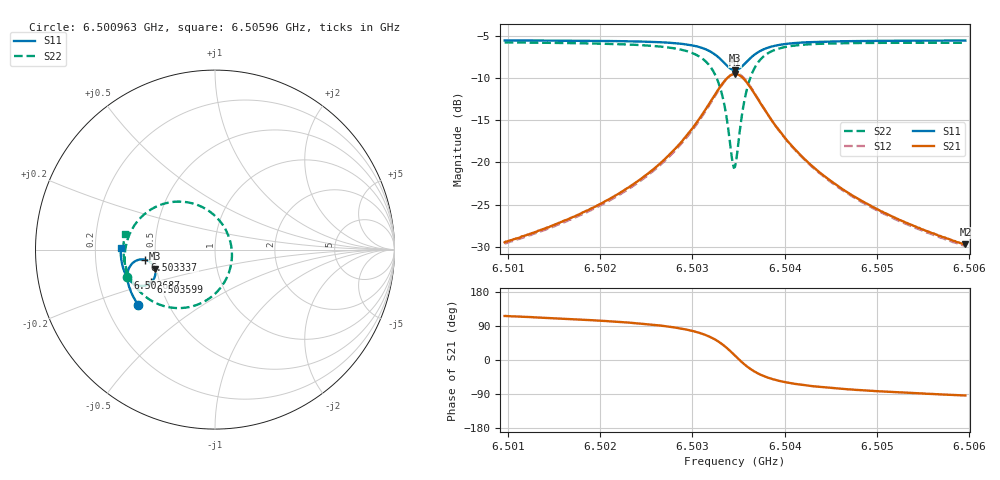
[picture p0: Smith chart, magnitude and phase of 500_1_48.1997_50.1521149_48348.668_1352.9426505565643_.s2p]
#  HZ  S  RI  R  50.00
! Rohde & Schwarz Vector Network Analyzer
! Rohde-Schwarz,ZNB20-2Port,1311601062101988,3.16
! Created: UTC 3/20/2024, 11:58:31 AM
! freq[Hz]  re:S11  im:S11  re:S21  im:S21  re:S12  im:S12  re:S22  im:S22
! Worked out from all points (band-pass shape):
!   401 points, 6.500963 GHz to 6.50596 GHz, reference 50 ohm
!   highest |S21| = -9.53 dB at 6.503461 GHz (marker M1); lowest = -29.7 dB at 6.50596 GHz (marker M2)
!   |S21| within 3 dB of the highest: 6.503212 GHz to 6.503711 GHz (499 kHz wide, 0.00767 % of centre)
!   lowest |S11| = -9.1 dB at 6.503461 GHz (marker M3), VSWR 2.08, Z = 24.4 - j5.91 ohm
!   |S11| at or under -10 dB: nowhere
!   |S22| runs from -20.6 to -5.8 dB; largest |S21 - S12| = 0.011
!   S11 on the Smith chart (normalised r, x): 6.500963 GHz: 0.34, -0.29; 6.502687 GHz: 0.33, -0.14; 6.503337 GHz: 0.44, -0.06; 6.503599 GHz: 0.45, -0.19; 6.50596 GHz: 0.31, +0.01
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6.5009633e9  -0.4267 -0.3095  -0.0148 0.0302  -0.0132 0.0304  -0.4897 -0.1541
6.5018002e9  -0.4627 -0.2475  -0.0143 0.0482  -0.0119 0.0477  -0.5028 -0.065
6.5022499e9  -0.4784 -0.2078  -0.0114 0.067  -0.00856 0.066  -0.5 -0.00123
6.5026371e9  -0.4877 -0.1649  -0.00223 0.0973  0.00134 0.095  -0.4799 0.0762
6.5026871e9  -0.4884 -0.1584  0.000332 0.1029  0.00383 0.1006  -0.4747 0.0887
6.5029494e9  -0.4841 -0.117  0.0267 0.1442  0.0301 0.14  -0.4203 0.1718
6.5031367e9  -0.4626 -0.0787  0.0813 0.1868  0.0834 0.1809  -0.3157 0.2448
6.5032491e9  -0.4295 -0.0578  0.1511 0.2045  0.1515 0.1986  -0.19 0.2672
6.5033366e9  -0.3885 -0.0561  0.2315 0.188  0.2316 0.1838  -0.0513 0.2264
6.503424e9  -0.346 -0.0844  0.3092 0.115  0.3115 0.1114  0.0726 0.0828
6.503449e9  -0.3379 -0.0985  0.3227 0.0837  0.3258 0.0795  0.0897 0.0238
6.5034615e9  -0.3351 -0.106  0.327 0.0671  0.3305 0.0622  0.0939 -0.0072
6.5034865e9  -0.3319 -0.122  0.3307 0.0329  0.3346 0.0269  0.0918 -0.0694
6.5035239e9  -0.334 -0.1457  0.3236 -0.0167  0.3273 -0.0249  0.0655 -0.1573
6.5035989e9  -0.3558 -0.1823  0.278 -0.0924  0.2782 -0.1032  -0.0423 -0.279
6.5037113e9  -0.4009 -0.2024  0.1923 -0.1375  0.1875 -0.1469  -0.2159 -0.3257
6.5038737e9  -0.4478 -0.1927  0.1094 -0.134  0.1028 -0.1391  -0.3649 -0.2781
6.5040486e9  -0.4755 -0.1713  0.0645 -0.1135  0.0585 -0.1158  -0.4377 -0.2125
6.5042984e9  -0.4963 -0.1414  0.0341 -0.0888  0.0297 -0.0894  -0.4814 -0.1397
6.5046856e9  -0.5123 -0.1008  0.0145 -0.0647  0.0115 -0.0643  -0.5045 -0.0624
6.5051352e9  -0.5214 -0.0592  0.00514 -0.0486  0.00294 -0.0479  -0.5103 0.00117
6.5059596e9  -0.5263 0.0108  -0.00205 -0.0327  -0.00332 -0.0318  -0.5026 0.0888
